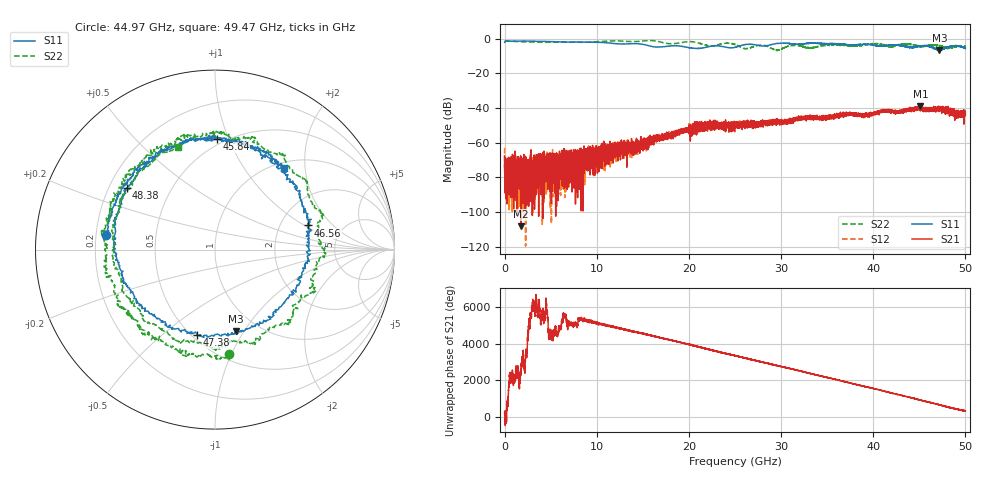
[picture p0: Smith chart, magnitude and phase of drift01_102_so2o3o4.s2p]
!Created with skrf (http://scikit-rf.org).
# Hz S RI R 50.0
!freq ReS11 ImS11 ReS21 ImS21 ReS12 ImS12 ReS22 ImS22
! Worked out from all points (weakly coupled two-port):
!   10001 points, 300 kHz to 50 GHz, reference 50 ohm
!   highest |S21| = -38.80 dB at 45.13 GHz (marker M1); lowest = -108.3 dB at 1.795 GHz (marker M2)
!   lowest |S11| = -6.6 dB at 47.19 GHz (marker M3), VSWR 2.77, Z = 39.5 - j46.2 ohm
!   |S11| at or under -10 dB: nowhere
!   |S22| runs from -6.8 to -1.0 dB; largest |S21 - S12| = 0.004
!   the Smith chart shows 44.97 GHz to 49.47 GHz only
!   S11 on the Smith chart (normalised r, x): 44.97 GHz: 0.24, +0.06; 45.84 GHz: 0.46, +0.90; 46.56 GHz: 2.84, +1.07; 47.38 GHz: 0.53, -0.66; 48.38 GHz: 0.27, +0.29; 49.47 GHz: 1.10, +1.56
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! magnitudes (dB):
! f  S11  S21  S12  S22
! 300 kHz  -2.1  -67.6  -62.9  -1.3
! 310.3 MHz  -1.4  -86.1  -81.7  -1.3
! 1.795 GHz  -1.4  -108.3  -75.2  -1.8
! 6.37 GHz  -1.9  -65.9  -66.4  -1.9
! 8.335 GHz  -1.9  -67.8  -70.3  -2.1
! 8.635 GHz  -2.0  -65.5  -67.7  -2.1
! 16.67 GHz  -4.8  -56.3  -58.1  -1.6
! 22.03 GHz  -4.7  -50.2  -49.8  -4.0
! 25 GHz  -5.0  -50.0  -51.6  -3.4
! 29.52 GHz  -2.8  -47.9  -48.7  -6.7
! 31.29 GHz  -3.0  -46.3  -46.7  -4.0
! 33.34 GHz  -2.6  -45.1  -45.8  -5.3
! 41.67 GHz  -3.9  -42.0  -42.0  -4.5
! 44.97 GHz  -4.3  -39.7  -40.2  -4.6
! 45.13 GHz  -4.2  -38.8  -39.4  -4.4
! 45.84 GHz  -4.2  -41.3  -41.4  -4.2
! 46.56 GHz  -5.4  -39.9  -39.9  -3.8
! 47.19 GHz  -6.6  -40.8  -40.5  -4.4
! 47.38 GHz  -6.3  -40.7  -40.9  -4.7
! 48.38 GHz  -4.4  -42.4  -41.1  -5.5
! 49.47 GHz  -4.5  -42.2  -43.3  -4.3
! 50 GHz  -5.5  -44.1  -43.5  -4.3
